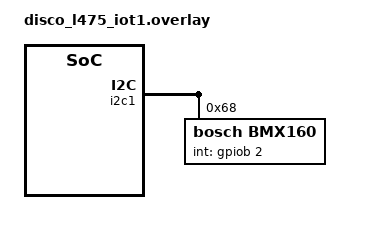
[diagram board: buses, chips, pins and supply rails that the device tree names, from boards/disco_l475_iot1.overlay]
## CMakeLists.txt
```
# SPDX-License-Identifier: Apache-2.0

cmake_minimum_required(VERSION 3.13.1)
find_package(Zephyr HINTS $ENV{ZEPHYR_BASE})
project(NONE)

FILE(GLOB app_sources src/*.c)
target_sources(app PRIVATE ${app_sources})
```

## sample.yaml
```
sample:
  name: BMX160 Sensor Sample
tests:
  sample.sensor.bmx160:
    harness: sensor
    tags: sensors
    depends_on: i2c gpio
    filter: dt_compat_enabled("bosch,bmx160")
```

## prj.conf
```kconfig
CONFIG_PRINTK=y
CONFIG_GPIO=y
CONFIG_I2C=y
CONFIG_SENSOR=y
CONFIG_BMX160=y
CONFIG_BMX160_MAG=y
```

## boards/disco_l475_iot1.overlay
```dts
/*
 * Copyright (c) 2020, Linumiz
 *
 * SPDX-License-Identifier: Apache-2.0
 */

&i2c1 {
	bmx160@68 {
		compatible = "bosch,bmx160";
		reg = <0x68>;
		label = "BMX160";
		int-gpios = <&gpiob 2 GPIO_ACTIVE_HIGH>;
	};
};
```

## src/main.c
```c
/*
 * Copyright (c) 2020 Linumiz
 *
 * SPDX-License-Identifier: Apache-2.0
 */

#include <zephyr.h>

#include <sys/printk.h>
#include <sys_clock.h>
#include <stdio.h>

#include <device.h>
#include <drivers/sensor.h>
#include <drivers/i2c.h>

#define MAX_TEST_TIME	10000
#define SLEEPTIME	300

static void print_gyro_data(const struct device *bmx160)
{
	struct sensor_value val[3];

	if (sensor_channel_get(bmx160, SENSOR_CHAN_GYRO_XYZ, val) < 0) {
		printf("Cannot read bmx160 gyro channels.\n");
		return;
	}

	printf("Gyro (Grad): X=%f, Y=%f, Z=%f\n",
	       val[0].val1 + val[0].val2 / 1000000.0,
	       val[1].val1 + val[1].val2 / 1000000.0,
	       val[2].val1 + val[2].val2 / 1000000.0);
}

static void print_magn_data(const struct device *bmx160)
{
	struct sensor_value val[3];

	if (sensor_channel_get(bmx160, SENSOR_CHAN_MAGN_XYZ, val) < 0) {
		printf("Cannot read bmx160 magnetometer channels.\n");
		return;
	}

	printf("Magn (Gauss): X=%f, Y=%f, Z=%f\n",
	       val[0].val1 + val[0].val2 / 1000000.0,
	       val[1].val1 + val[1].val2 / 1000000.0,
	       val[2].val1 + val[2].val2 / 1000000.0);
}

static void print_accl_data(const struct device *bmx160)
{
	struct sensor_value val[3];

	if (sensor_channel_get(bmx160, SENSOR_CHAN_ACCEL_XYZ, val) < 0) {
		printf("Cannot read bmx160 accl channels.\n");
		return;
	}

	printf("Accl (m/s): X=%f, Y=%f, Z=%f\n",
	       val[0].val1 + val[0].val2 / 1000000.0,
	       val[1].val1 + val[1].val2 / 1000000.0,
	       val[2].val1 + val[2].val2 / 1000000.0);
}

static void print_temp_data(const struct device *bmx160)
{
	struct sensor_value val;

	if (sensor_channel_get(bmx160, SENSOR_CHAN_DIE_TEMP, &val) < 0) {
		printf("Temperature channel read error.\n");
		return;
	}

	printf("Temperature (Celsius): %f\n",
	       val.val1 + val.val2 / 1000000.0);
}

static void test_polling_mode(const struct device *bmx160)
{
	int32_t remaining_test_time = MAX_TEST_TIME;

	do {
		if (sensor_sample_fetch(bmx160) < 0) {
			printf("accl sample update error.\n");
		}

		print_accl_data(bmx160);

		print_gyro_data(bmx160);

		print_magn_data(bmx160);

		print_temp_data(bmx160);

		/* wait a while */
		k_sleep(K_MSEC(SLEEPTIME));

		remaining_test_time -= SLEEPTIME;
	} while (remaining_test_time > 0);
}

#if defined(CONFIG_BMI160_TRIGGER)
static void trigger_handler(const struct device *bmx160,
			    struct sensor_trigger *trigger)
{
	switch (trigger->type) {
	case SENSOR_TRIG_DOUBLE_TAP:
		printf("double tap event.\n");
		return;

	case SENSOR_TRIG_TAP:
		printf("single tap event.\n");
		return;

	case SENSOR_TRIG_DELTA:
		printf("any motion detected.\n");
		return;

	case SENSOR_TRIG_DATA_READY:
		printf("any drdy.\n");
		if (sensor_sample_fetch(bmx160) < 0) {
			printf("sample update error.\n");
		}

		print_accl_data(bmx160);
		print_gyro_data(bmx160);
		print_magn_data(bmx160);
		return;

	default:
		printf("trigger handler: unknown trigger type.\n");
		return;
	}
}
#endif

static void test_trigger_mode(const struct device *bmx160)
{
#if defined(CONFIG_BMI160_TRIGGER)
	int32_t remaining_test_time = MAX_TEST_TIME;
	struct sensor_trigger trig;
	struct sensor_value attr;

	printf("Testing anymotion trigger.\n");

	attr.val1 = 10;
	attr.val2 = 800000;
	if (sensor_attr_set(bmx160, SENSOR_CHAN_ACCEL_XYZ,
			    SENSOR_ATTR_SLOPE_TH, &attr) < 0) {
		printf("cannot set slope threshold.\n");
		return;
	}

	/* set slope duration to 4 samples */
	attr.val1 = 4;
	attr.val2 = 0;

	if (sensor_attr_set(bmx160, SENSOR_CHAN_ACCEL_XYZ,
			    SENSOR_ATTR_SLOPE_DUR, &attr) < 0) {
		printf("cannot set slope duration.\n");
		return;
	}

	/* set up the trigger */
	trig.chan = SENSOR_CHAN_ACCEL_XYZ;
	trig.type = SENSOR_TRIG_DELTA;

	if (sensor_trigger_set(bmx160, &trig, trigger_handler) < 0) {
		printf("cannot set trigger.\n");
		return;
	}

	printf("move the device and wait for events.\n");
	do {
		k_sleep(K_MSEC(SLEEPTIME));
		remaining_test_time -= SLEEPTIME;
	} while (remaining_test_time > 0);

	if (sensor_trigger_set(bmx160, &trig, NULL) < 0) {
		printf("cannot clear trigger.\n");
		return;
	}

	printf("Anymotion trigger test finished.\n");

	printf("Testing tap trigger.\n");

#if defined(CONFIG_BMI160_ACCEL_ODR_RUNTIME)
	attr.val1 = 1600;
	attr.val2 = 0;

	if (sensor_attr_set(bmx160, SENSOR_CHAN_ACCEL_XYZ,
			    SENSOR_ATTR_SAMPLING_FREQUENCY, &attr) < 0) {
		printf("cannot set sampling frequency.\n");
		return;
	}
#endif

	attr.val1 = 30;
	attr.val2 = 0;

	if (sensor_attr_set(bmx160, SENSOR_CHAN_ACCEL_XYZ,
			    SENSOR_ATTR_LOWER_THRESH, &attr) < 0) {
		printf("cannot set tap lower thresh.\n");
		return;
	}

	attr.val1 = 200;
	attr.val2 = 0;

	if (sensor_attr_set(bmx160, SENSOR_CHAN_ACCEL_XYZ,
			    SENSOR_ATTR_UPPER_THRESH, &attr) < 0) {
		printf("cannot set tap upper thresh.\n");
		return;
	}

	trig.type = SENSOR_TRIG_TAP;
	trig.chan = SENSOR_CHAN_ACCEL_XYZ;
	if (sensor_trigger_set(bmx160, &trig, trigger_handler) < 0) {
		printf("cannot set double tap trigger.\n");
		return;
	}

	trig.type = SENSOR_TRIG_DOUBLE_TAP;
	trig.chan = SENSOR_CHAN_ACCEL_XYZ;
	if (sensor_trigger_set(bmx160, &trig, trigger_handler) < 0) {
		printf("cannot set double tap trigger.\n");
		return;
	}

	printf("Try single/double tap the device and wait for events.\n");
	remaining_test_time = MAX_TEST_TIME;
	do {
		k_sleep(K_MSEC(SLEEPTIME));
		remaining_test_time -= SLEEPTIME;
	} while (remaining_test_time > 0);

	if (sensor_trigger_set(bmx160, &trig, NULL) < 0) {
		printf("cannot clear trigger.\n");
		return;
	}

	trig.type = SENSOR_TRIG_TAP;
	if (sensor_trigger_set(bmx160, &trig, NULL) < 0) {
		printf("cannot clear trigger.\n");
		return;
	}

	printf("End of testing TAP.\n");

	printf("Testing data ready trigger.\n");

#if defined(CONFIG_BMI160_ACCEL_ODR_RUNTIME)
	attr.val1 = 100;
	attr.val2 = 0;

	if (sensor_attr_set(bmx160, SENSOR_CHAN_ACCEL_XYZ,
			    SENSOR_ATTR_SAMPLING_FREQUENCY, &attr) < 0) {
		printf("cannot set sampling frequency.\n");
		return;
	}
#endif
	trig.type = SENSOR_TRIG_DATA_READY;
	trig.chan = SENSOR_CHAN_ACCEL_XYZ;

	if (sensor_trigger_set(bmx160, &trig, trigger_handler) < 0) {
		printf("cannot set trigger.\n");
		return;
	}

	trig.type = SENSOR_TRIG_DATA_READY;
	trig.chan = SENSOR_CHAN_GYRO_XYZ;

	if (sensor_trigger_set(bmx160, &trig, trigger_handler) < 0) {
		printf("cannot set trigger.\n");
		return;
	}

	trig.type = SENSOR_TRIG_DATA_READY;
	trig.chan = SENSOR_CHAN_MAGN_XYZ;

	if (sensor_trigger_set(bmx160, &trig, trigger_handler) < 0) {
		printf("cannot set trigger.\n");
		return;
	}

	remaining_test_time = MAX_TEST_TIME;
	do {
		k_sleep(K_MSEC(SLEEPTIME));
		remaining_test_time -= SLEEPTIME;
	} while (remaining_test_time > 0);

	trig.type = SENSOR_TRIG_DATA_READY;
	trig.chan = SENSOR_CHAN_ACCEL_XYZ;
	if (sensor_trigger_set(bmx160, &trig, NULL) < 0) {
		printf("cannot clear trigger.\n");
		return;
	}

	trig.chan = SENSOR_CHAN_GYRO_XYZ;
	if (sensor_trigger_set(bmx160, &trig, NULL) < 0) {
		printf("cannot clear trigger.\n");
		return;
	}

	trig.chan = SENSOR_CHAN_MAGN_XYZ;
	if (sensor_trigger_set(bmx160, &trig, NULL) < 0) {
		printf("cannot clear trigger.\n");
		return;
	}

	printf("Data ready trigger test finished.\n");
#endif

}

void main(void)
{
	const struct device *bmx160;
#if defined(CONFIG_BMI160_ACCEL_RANGE_RUNTIME)
	struct sensor_value attr;
#endif

	printf("get device bmx160\n");
	bmx160 = device_get_binding("BMX160");
	if (!bmx160) {
		printf("Device not found.\n");
		return;
	}

#if defined(CONFIG_BMI160_ACCEL_RANGE_RUNTIME)
	/*
	 * Set accl range to +/- 16 G. Since the sensor API needs SI
	 * units, convert the range to rad/s.
	 */
	sensor_g_to_ms2(16, &attr);

	if (sensor_attr_set(bmx160, SENSOR_CHAN_ACCEL_XYZ,
			    SENSOR_ATTR_FULL_SCALE, &attr) < 0) {
		printf("Cannot set accl range.\n");
		return;
	}
#endif

	printf("Testing the polling mode.\n");
	test_polling_mode(bmx160);
	printf("Polling mode test finished.\n");

	printf("Testing the trigger mode.\n");
	test_trigger_mode(bmx160);
	printf("Trigger mode test finished.\n");
}
```
